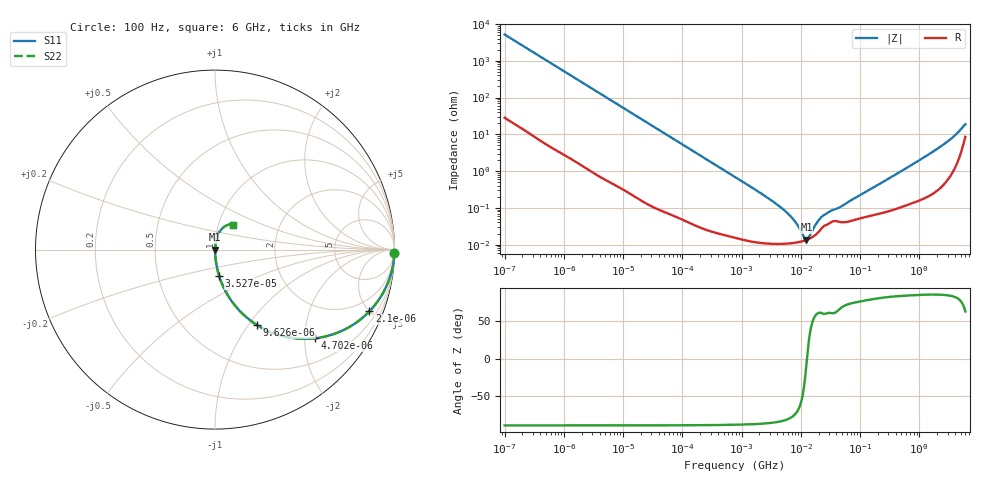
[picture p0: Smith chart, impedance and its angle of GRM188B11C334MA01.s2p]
!Murata Part Number: GRM188B11C334MA01
!These Parameters are Measured in Series Mode Connection
!Data Generated on Mar 30, 2021
!  o--ll--o
!Port1  Port2
!  o------o
!Operation Temp=25[degC], DC Bias Voltage=0[V]
!Freq. Start=100[Hz] Stop=6[GHz] 401[Steps]
# Hz S RI R 50
!Freq.(Hz) S11(Real) S11(Imag) S21(Real) S21(Imag) S12(Real) S12(Imag) S22(Real) S22(Imag)
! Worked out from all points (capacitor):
!   401 points, 100 Hz to 6 GHz, reference 50 ohm
!   read as one part in series: C = 306 nF near 109 Hz
!   lowest |Z| = 13.5 mohm at 12.44 MHz (marker M1)
!   series resonance near 12.7 MHz, so ESL is about 510 pH
!   S11 on the Smith chart (normalised r, x): 100 Hz: open; 2.1 kHz: 1.03, -5.00; 4.702 kHz: 1.01, -2.24; 9.626 kHz: 1.01, -1.10; 35.27 kHz: 1.00, -0.30; 6 GHz: 1.17, +0.34
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100  0.9995 -0.0192  0.000475 0.0192  0.000475 0.0192  0.9995 -0.0192
573  0.9876 -0.1083  0.0124 0.1083  0.0124 0.1083  0.9876 -0.1083
2008  0.8708 -0.3327  0.1292 0.3327  0.1292 0.3327  0.8708 -0.3327
2100  0.8605 -0.3438  0.1395 0.3438  0.1395 0.3438  0.8605 -0.3438
4702  0.5554 -0.4942  0.4446 0.4942  0.4446 0.4942  0.5554 -0.4942
9626  0.2322 -0.4192  0.7678 0.4192  0.7678 0.4192  0.2322 -0.4192
17227  0.0874 -0.2794  0.9126 0.2794  0.9126 0.2794  0.0874 -0.2794
35265  0.023 -0.1466  0.977 0.1466  0.977 0.1466  0.023 -0.1466
40335  0.0178 -0.1289  0.9822 0.1289  0.9822 0.1289  0.0178 -0.1289
129199  0.00209 -0.0411  0.9979 0.0411  0.9979 0.0411  0.00209 -0.0411
774597  0.000201 -0.00691  0.9998 0.00691  0.9998 0.00691  0.000201 -0.00691
5311619  0.000106 -0.000842  0.9999 0.000842  0.9999 0.000842  0.000106 -0.000842
7947587  0.000112 -0.000415  0.9999 0.000415  0.9999 0.000415  0.000112 -0.000415
1.137099e7  0.000128 -9.5e-05  0.9999 9.5e-05  0.9999 9.5e-05  0.000128 -9.5e-05
1.243624e7  0.000134 -1.81e-05  0.9999 1.81e-05  0.9999 1.81e-05  0.000134 -1.81e-05
1.360128e7  0.000142 5.89e-05  0.9999 -5.89e-05  0.9999 -5.89e-05  0.000142 5.89e-05
1.555665e7  0.000159 0.000176  0.9998 -0.000176  0.9998 -0.000176  0.000159 0.000176
1.946e7  0.000211 0.000379  0.9998 -0.000379  0.9998 -0.000379  0.000211 0.000379
2.434276e7  0.000316 0.000545  0.9997 -0.000545  0.9997 -0.000545  0.000316 0.000545
3.124326e8  0.000856 0.00635  0.9991 -0.00635  0.9991 -0.00635  0.000856 0.00635
2.240541e9  0.00541 0.0448  0.9946 -0.0448  0.9946 -0.0448  0.00541 0.0448
6e9  0.1003 0.1397  0.8997 -0.1397  0.8997 -0.1397  0.1003 0.1397
